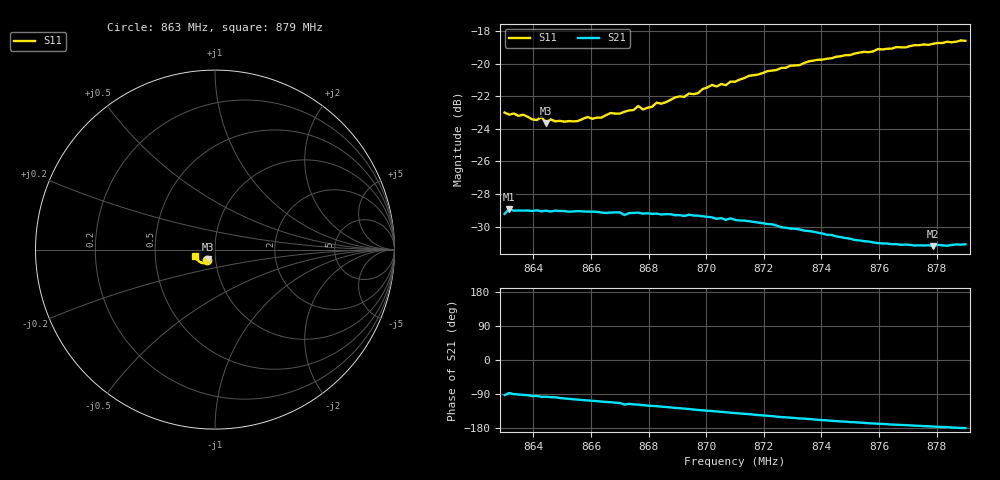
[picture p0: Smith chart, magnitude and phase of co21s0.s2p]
# HZ S RI R 50
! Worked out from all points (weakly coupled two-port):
!   101 points, 863 MHz to 879 MHz, reference 50 ohm
!   highest |S21| = -28.91 dB at 863.16 MHz (marker M1); lowest = -31.2 dB at 877.88 MHz (marker M2)
!   lowest |S11| = -23.6 dB at 864.44 MHz (marker M3), VSWR 1.14, Z = 46.1 - j4.94 ohm
!   |S11| at or under -10 dB: start of sweep to end of sweep
!   S12 and S22 are empty: the file has one direction only
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8.63e8  -0.0444 -0.0552  -0.00154 -0.0345  0 0  0 0
8.6316e8  -0.0425 -0.0554  0.00181 -0.0358  0 0  0 0
8.6364e8  -0.0424 -0.0554  -0.0013 -0.0354  0 0  0 0
8.6412e8  -0.0395 -0.0544  -0.00298 -0.0353  0 0  0 0
8.6428e8  -0.0399 -0.0558  -0.00445 -0.0349  0 0  0 0
8.6444e8  -0.0383 -0.0534  -0.00417 -0.0351  0 0  0 0
8.646e8  -0.0386 -0.0553  -0.005 -0.0348  0 0  0 0
8.6508e8  -0.036 -0.0558  -0.00709 -0.0346  0 0  0 0
8.6572e8  -0.0356 -0.0577  -0.00961 -0.0338  0 0  0 0
8.6636e8  -0.0359 -0.0582  -0.0118 -0.0329  0 0  0 0
8.6748e8  -0.0353 -0.0629  -0.0159 -0.031  0 0  0 0
8.6764e8  -0.0365 -0.0646  -0.0163 -0.0309  0 0  0 0
8.678e8  -0.0359 -0.0628  -0.0168 -0.0303  0 0  0 0
8.6828e8  -0.0365 -0.0666  -0.0184 -0.0294  0 0  0 0
8.6844e8  -0.037 -0.0657  -0.0188 -0.0289  0 0  0 0
8.6972e8  -0.041 -0.0702  -0.0228 -0.0254  0 0  0 0
8.702e8  -0.0446 -0.0737  -0.0238 -0.024  0 0  0 0
8.71e8  -0.048 -0.0738  -0.0254 -0.0213  0 0  0 0
8.7372e8  -0.069 -0.0755  -0.028 -0.0121  0 0  0 0
8.7644e8  -0.0928 -0.0615  -0.0275 -0.00463  0 0  0 0
8.7788e8  -0.1045 -0.0485  -0.0274 -0.00206  0 0  0 0
8.79e8  -0.1115 -0.0374  -0.0279 -0.000212  0 0  0 0
